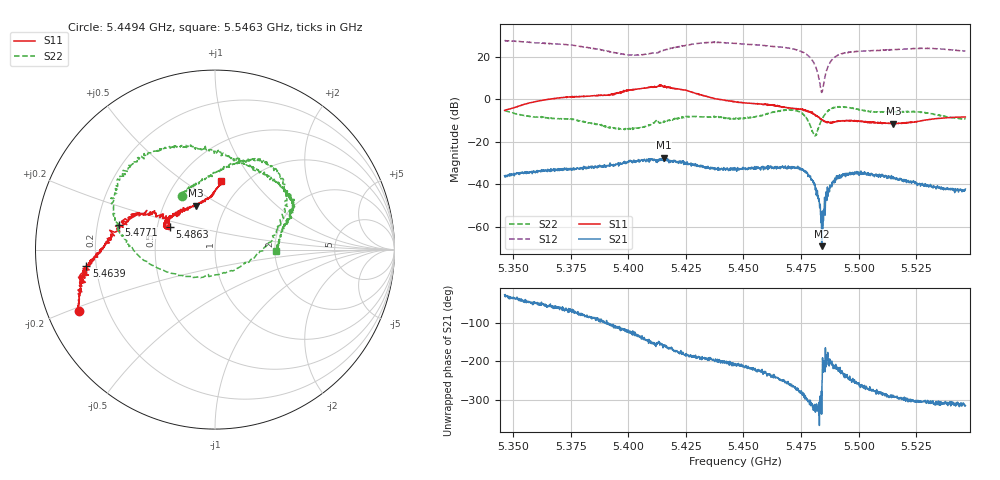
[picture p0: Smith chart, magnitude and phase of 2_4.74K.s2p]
# Hz  S  DB  R  50
! ADVANTEST Corporation R3860A
! Date: Wed Apr 11 19:52:23 2007
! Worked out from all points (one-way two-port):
!   1601 points, 5.3463 GHz to 5.5463 GHz, reference 50 ohm
!   highest |S21| = -27.51 dB at 5.4153 GHz (marker M1); lowest = -69.1 dB at 5.4839 GHz (marker M2)
!   lowest |S11| = -11.5 dB at 5.5151 GHz (marker M3), VSWR 1.73, Z = 36.1 + j19 ohm
!   |S11| at or under -10 dB: 5.484623 GHz to 5.493807 GHz (9.184 MHz wide, 0.167 % of centre); 5.496917 GHz to 5.498009 GHz (1.092 MHz wide, 0.0199 % of centre); 5.4988 GHz to 5.5276 GHz (28.78 MHz wide, 0.522 % of centre) (the widest 3 of 11)
!   |S22| runs from -17.2 to -3.4 dB; largest |S21 - S12| = 24
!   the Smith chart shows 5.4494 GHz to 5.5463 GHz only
!   S11 on the Smith chart (normalised r, x): 5.4494 GHz: 0.09, -0.21; 5.4639 GHz: 0.16, -0.06; 5.4771 GHz: 0.29, +0.12; 5.4863 GHz: 0.58, +0.16; 5.5463 GHz: 0.79, +0.71
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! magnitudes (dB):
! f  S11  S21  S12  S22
! 5.3463 GHz  -5.2  -36.0  27.5  -5.3
! 5.3624 GHz  -0.5  -33.6  26.3  -8.5
! 5.3797 GHz  1.4  -32.4  24.8  -10.4
! 5.3983 GHz  3.8  -29.2  21.1  -14.2
! 5.4131 GHz  6.3  -28.4  22.0  -10.7
! 5.4153 GHz  6.0  -27.5  23.1  -10.3
! 5.4261 GHz  3.9  -30.2  25.6  -8.0
! 5.4463 GHz  -1.1  -33.0  26.3  -9.2
! 5.4494 GHz  -1.6  -32.5  26.1  -9.1
! 5.4639 GHz  -2.8  -32.0  24.8  -5.8
! 5.4721 GHz  -4.3  -32.0  23.5  -5.1
! 5.4771 GHz  -5.1  -33.8  21.3  -8.4
! 5.4797 GHz  -6.6  -38.0  18.6  -14.9
! 5.4814 GHz  -7.7  -42.1  15.0  -16.5
! 5.4839 GHz  -9.6  -69.1  3.2  -9.8
! 5.4846 GHz  -9.8  -52.6  5.9  -8.3
! 5.4863 GHz  -11.0  -46.9  14.3  -5.9
! 5.4894 GHz  -10.7  -39.3  19.7  -3.9
! 5.4936 GHz  -10.0  -35.3  21.8  -3.5
! 5.5131 GHz  -11.4  -36.0  23.1  -5.8
! 5.5151 GHz  -11.5  -36.5  23.3  -5.8
! 5.5463 GHz  -8.3  -42.2  22.7  -9.3
